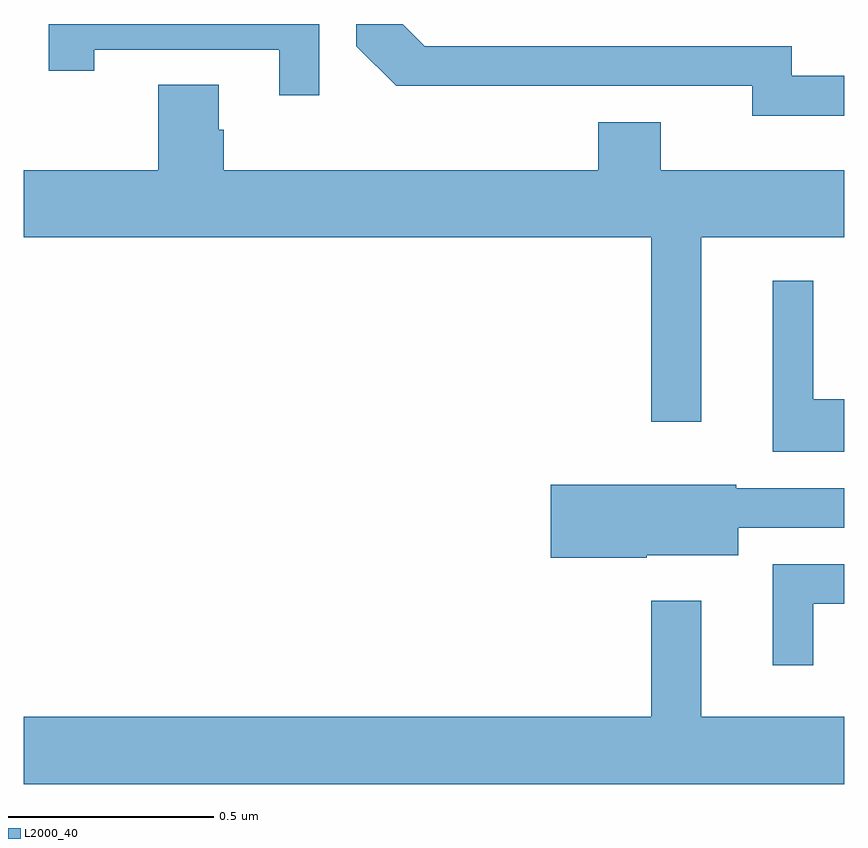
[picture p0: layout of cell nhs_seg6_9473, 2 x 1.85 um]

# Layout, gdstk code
import gdstk
lib = gdstk.Library(unit=1e-6, precision=1e-09)
def P(c, l, *ps):  # polygons
    for p in ps: c.add(gdstk.Polygon(p, *l))
L2000_40 = (2000, 40)

nhs_seg6_9473 = lib.new_cell('nhs_seg6_9473')
P(nhs_seg6_9473, L2000_40, [(236,970.374),(235.872,970.374),(235.872,970.446),(234.978,970.446),(234.924,970.5),(234.81,970.5),(234.81,970.446),(234.908,970.349),(235.316,970.349),(235.316,970.35),(235.776,970.35),(235.776,970.277),(236,970.277)],
  [(234.72,970.5),(234.061,970.5),(234.061,970.386),(234.172,970.386),(234.172,970.437),(234.623,970.437),(234.623,970.326),(234.72,970.326)],
  [(235.651,969.98),(236,969.98),(236,970.144),(235.552,970.144),(235.552,970.261),(235.4,970.261),(235.4,970.144),(234.488,970.144),(234.488,970.242),(234.475,970.242),(234.475,970.352),(234.328,970.352),(234.328,970.144),(234,970.144),(234,969.98),(235.53,969.98),(235.53,969.531),(235.651,969.531)],
  [(236,969.586),(235.924,969.586),(235.924,969.874),(235.826,969.874),(235.826,969.458),(236,969.458)],
  [(235.518,969.206),(235.741,969.206),(235.741,969.273),(236,969.273),(236,969.369),(235.737,969.369),(235.737,969.377),(235.284,969.377),(235.284,969.199),(235.518,969.199)],
  [(235.924,969.087),(236,969.087),(236,969.183),(235.826,969.183),(235.826,968.937),(235.924,968.937)],
  [(236,968.812),(235.651,968.812),(235.651,969.094),(235.53,969.094),(235.53,968.812),(234,968.812),(234,968.648),(236,968.648)])

lib.write_gds('nhs_seg6_9473.gds')
